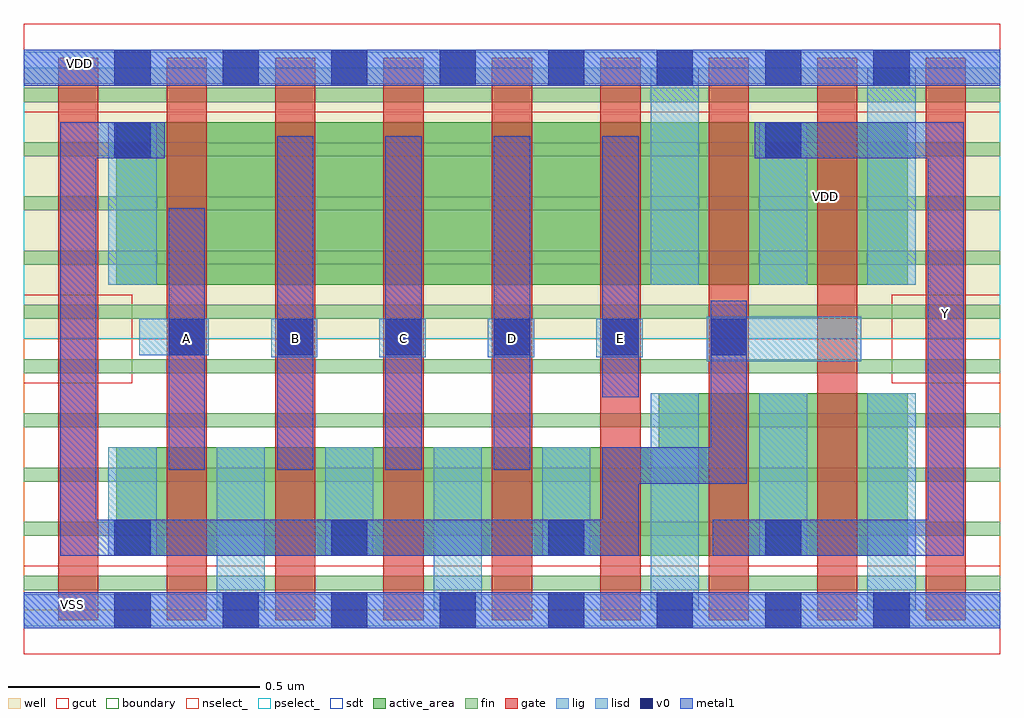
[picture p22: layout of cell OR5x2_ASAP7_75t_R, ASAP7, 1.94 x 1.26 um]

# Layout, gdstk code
import gdstk
lib = gdstk.Library(unit=1e-6, precision=2.5e-10)
def R(c, l, rs):  # rectangles x0, y0, x1, y1
    for r in rs: c.add(gdstk.rectangle(r[:2], r[2:], *l))
def A(c, l, x, y, w, h, nx, ny, dx, dy):  # array of equal rectangles
    R(c, l, [(x+i*dx, y+j*dy, x+i*dx+w, y+j*dy+h) for i in range(nx) for j in range(ny)])
def P(c, l, *ps):  # polygons
    for p in ps: c.add(gdstk.Polygon(p, *l))
well = (1, 0)
fin = (2, 0)
gate = (7, 0)
gcut = (10, 0)
active_area = (11, 0)
nselect_ = (12, 0)
pselect_ = (13, 0)
lig = (16, 0)
lisd = (17, 0)
v0 = (18, 0)
metal1 = (19, 0)
sdt = (88, 0)
boundary = (100, 0)

or5x2_asap7_75t_r = lib.new_cell('OR5x2_ASAP7_75t_R')
R(or5x2_asap7_75t_r, well, [(0,0.54,1.728,1.08), (1.08,0.54,1.944,1.08)])
A(or5x2_asap7_75t_r, fin, 0, 0.04, 1.728, 0.028, 1, 10, 0, 0.108)
A(or5x2_asap7_75t_r, fin, 1.08, 0.04, 0.864, 0.028, 1, 10, 0, 0.108)
A(or5x2_asap7_75t_r, gate, 0.068, -0.02, 0.08, 1.12, 9, 1, 0.216, 0)
R(or5x2_asap7_75t_r, gcut, [(0,-0.088,1.944,0.088), (0,0.452,0.216,0.628), (1.728,0.452,1.944,0.628), (0,0.992,1.944,1.168)])
R(or5x2_asap7_75t_r, active_area, [(1.264,0.108,1.76,0.432), (0.184,0.648,1.544,0.972), (1.264,0.648,1.76,0.972)])
P(or5x2_asap7_75t_r, active_area, [(0.184,0.108),(0.184,0.324),(1.264,0.324),(1.264,0.432),(1.544,0.432),(1.544,0.108)])
R(or5x2_asap7_75t_r, nselect_, [(0,0,1.728,0.54), (1.08,0,1.944,0.54)])
R(or5x2_asap7_75t_r, pselect_, [(0,0.54,1.728,1.08), (1.08,0.54,1.944,1.08)])
A(or5x2_asap7_75t_r, lig, 0.492, 0.504, 0.092, 0.076, 4, 1, 0.216, 0)
R(or5x2_asap7_75t_r, lig, [(0,-0.032,1.944,0.032), (1.36,0.496,1.668,0.584), (0.23,0.508,0.368,0.58), (0,1.048,1.944,1.112)])
A(or5x2_asap7_75t_r, lisd, 0.168, 0.108, 0.096, 0.216, 3, 1, 0.432, 0)
R(or5x2_asap7_75t_r, lisd, [(0.384,0,0.48,0.324), (0.816,0,0.912,0.324), (1.248,0,1.344,0.432), (1.68,0,1.776,0.432), (1.464,0.108,1.56,0.432), (0.168,0.648,0.264,0.972), (1.248,0.648,1.344,1.08), (1.464,0.648,1.56,0.972), (1.68,0.648,1.776,1.08)])
A(or5x2_asap7_75t_r, v0, 0.18, -0.036, 0.072, 0.072, 8, 2, 0.216, 1.08)
A(or5x2_asap7_75t_r, v0, 0.18, 0.108, 0.072, 0.072, 4, 1, 0.432, 0)
A(or5x2_asap7_75t_r, v0, 0.288, 0.508, 0.072, 0.072, 6, 1, 0.216, 0)
R(or5x2_asap7_75t_r, v0, [(0.18,0.9,0.252,0.972), (1.476,0.9,1.548,0.972)])
A(or5x2_asap7_75t_r, metal1, 0.504, 0.28, 0.072, 0.664, 3, 1, 0.216, 0)
R(or5x2_asap7_75t_r, metal1, [(0,-0.036,1.944,0.036), (0.288,0.28,0.36,0.8), (1.152,0.424,1.224,0.944), (0,1.044,1.944,1.116)])
P(or5x2_asap7_75t_r, metal1, [(1.372,0.108),(1.372,0.18),(1.8,0.18),(1.8,0.9),(1.456,0.9),(1.456,0.972),(1.872,0.972),(1.872,0.108)],
  [(0.072,0.108),(0.072,0.972),(0.28,0.972),(0.28,0.9),(0.144,0.9),(0.144,0.18),(1.152,0.18),(1.152,0.324),(1.368,0.324),(1.368,0.616),(1.44,0.616),(1.44,0.252),(1.224,0.252),(1.224,0.108)])
A(or5x2_asap7_75t_r, sdt, 0.168, 0.108, 0.096, 0.216, 5, 1, 0.216, 0)
R(or5x2_asap7_75t_r, sdt, [(1.248,0.108,1.344,0.432), (1.248,0.108,1.344,0.432), (1.464,0.108,1.56,0.432), (1.464,0.108,1.56,0.432), (1.68,0.108,1.776,0.432), (0.168,0.648,0.264,0.972), (1.248,0.648,1.344,0.972), (1.248,0.648,1.344,0.972), (1.464,0.648,1.56,0.972), (1.464,0.648,1.56,0.972), (1.68,0.648,1.776,0.972)])
R(or5x2_asap7_75t_r, boundary, [(0,0,1.728,1.08), (1.08,0,1.944,1.08)])
or5x2_asap7_75t_r.add(gdstk.Label('Y', (1.836,0.59), layer=19, texttype=251))
or5x2_asap7_75t_r.add(gdstk.Label('B', (0.54,0.54), layer=19, texttype=251))
or5x2_asap7_75t_r.add(gdstk.Label('A', (0.324,0.54), layer=19, texttype=251))
or5x2_asap7_75t_r.add(gdstk.Label('C', (0.756,0.54), layer=19, texttype=251))
or5x2_asap7_75t_r.add(gdstk.Label('VDD', (0.11,1.088), layer=19, texttype=251))
or5x2_asap7_75t_r.add(gdstk.Label('VSS', (0.096,0.012), layer=19, texttype=251))
or5x2_asap7_75t_r.add(gdstk.Label('D', (0.972,0.54), layer=19, texttype=251))
or5x2_asap7_75t_r.add(gdstk.Label('E', (1.188,0.54), layer=19, texttype=251))
or5x2_asap7_75t_r.add(gdstk.Label('VDD', (1.596,0.824), layer=1, texttype=251))
or5x2_asap7_75t_r.add(gdstk.Label('VSS', (0.744,-0.208), layer=3, texttype=251))

lib.write_gds('OR5x2_ASAP7_75t_R.gds')
